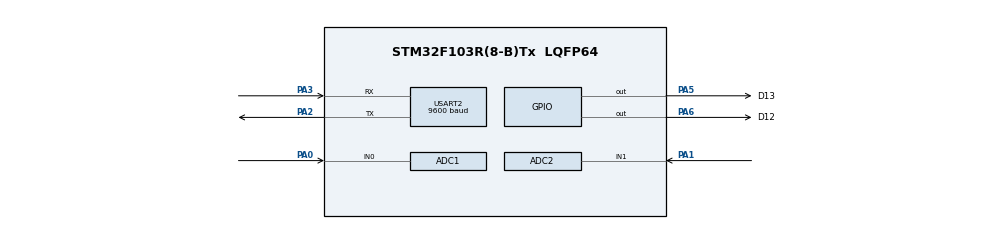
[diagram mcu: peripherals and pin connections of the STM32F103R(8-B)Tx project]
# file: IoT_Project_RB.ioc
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ADC1.Channel-0\#ChannelRegularConversion=ADC_CHANNEL_0
ADC1.ContinuousConvMode=ENABLE
ADC1.NbrOfConversionFlag=1
ADC1.Rank-0\#ChannelRegularConversion=1
ADC1.SamplingTime-0\#ChannelRegularConversion=ADC_SAMPLETIME_1CYCLE_5
ADC1.master=1
ADC2.Channel-0\#ChannelRegularConversion=ADC_CHANNEL_1
ADC2.ContinuousConvMode=ENABLE
ADC2.NbrOfConversionFlag=1
ADC2.Rank-0\#ChannelRegularConversion=1
ADC2.SamplingTime-0\#ChannelRegularConversion=ADC_SAMPLETIME_1CYCLE_5
Mcu.Family=STM32F1
Mcu.Name=STM32F103R(8-B)Tx
Mcu.Package=LQFP64
NVIC.PriorityGroup=NVIC_PRIORITYGROUP_4
NVIC.TIM2_IRQn=true\:0\:0\:false\:false\:true\:true\:true\:true
NVIC.USART2_IRQn=true\:0\:0\:false\:false\:true\:true\:true\:true
PA0-WKUP.Signal=ADCx_IN0
PA1.Signal=ADCx_IN1
PA2.Mode=Asynchronous
PA2.Signal=USART2_TX
PA3.Mode=Asynchronous
PA3.Signal=USART2_RX
PA5.GPIO_Label=D13
PA5.Signal=GPIO_Output
PA6.GPIO_Label=D12
PA6.Signal=GPIO_Output
ProjectManager.HeapSize=0x200
ProjectManager.StackSize=0x400
ProjectManager.TargetToolchain=STM32CubeIDE
RCC.APB1Freq_Value=8000000
RCC.APB2Freq_Value=8000000
SH.ADCx_IN0.0=ADC1_IN0,IN0
SH.ADCx_IN1.0=ADC2_IN1,IN1
TIM2.Period=9
TIM2.Prescaler=7999
USART2.BaudRate=9600
USART2.VirtualMode=VM_ASYNC
VP_TIM2_VS_ClockSourceINT.Mode=Internal
board=custom

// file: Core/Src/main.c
/* USER CODE BEGIN Header */
/**
  ******************************************************************************
  * @file           : main.c
  * @brief          : Main program body
  ******************************************************************************
  * @attention
  *
  * <h2><center>&copy; Copyright (c) 2022 STMicroelectronics.
  * All rights reserved.</center></h2>
  *
  * This software component is licensed by ST under BSD 3-Clause license,
  * the "License"; You may not use this file except in compliance with the
  * License. You may obtain a copy of the License at:
  *                        opensource.org/licenses/BSD-3-Clause
  *
  ******************************************************************************
  */
/* USER CODE END Header */
#include "main.h"

/* USER CODE BEGIN Includes */
#include "fsm.h"
#include "timer.h"
/* USER CODE END Includes */

/* USER CODE BEGIN PD */
#define TEMP 0
/* USER CODE END PD */

ADC_HandleTypeDef hadc1;
ADC_HandleTypeDef hadc2;

TIM_HandleTypeDef htim2;

UART_HandleTypeDef huart2;

void SystemClock_Config(void);
static void MX_GPIO_Init(void);
static void MX_ADC1_Init(void);
static void MX_ADC2_Init(void);
static void MX_USART2_UART_Init(void);
static void MX_TIM2_Init(void);

/* USER CODE BEGIN 0 */
//index_buffer = 0;
char writeStr[10];
void HAL_UART_RxCpltCallback(UART_HandleTypeDef *huart)
{
	if (huart->Instance == USART2)
	{
		//HAL_UART_Transmit(&huart2, &temp, 1, 50);

		buffer[index_buffer] = temp;
		index_buffer++;
		//if (temp == '!' || temp == '#')
		//HAL_UART_Transmit(&huart2, &temp, 1, 500);
		receive_flag++;
		//HAL_UART_Transmit(&huart2, writeStr, sprintf(writeStr, "%d", index_buffer), 1000);
		if (index_buffer == MAX_BUFFER_SIZE) index_buffer = 0;
		HAL_UART_Receive_IT(&huart2, &temp, 1);

		//HAL_GPIO_TogglePin(LED_RED_GPIO_Port, LED_RED_Pin);
	}
}

/* USER CODE END 0 */

int main(void)
{

  /* MCU Configuration--------------------------------------------------------*/

  /* Reset of all peripherals, Initializes the Flash interface and the Systick. */
  HAL_Init();

  /* Configure the system clock */
  SystemClock_Config();

  /* Initialize all configured peripherals */
  MX_GPIO_Init();
  MX_ADC1_Init();
  MX_ADC2_Init();
  MX_USART2_UART_Init();
  MX_TIM2_Init();
  /* USER CODE BEGIN 2 */

  HAL_UART_Receive_IT(&huart2, &temp, 1);
  HAL_TIM_Base_Start_IT(&htim2);
  /* USER CODE END 2 */

  /* Infinite loop */
  /* USER CODE BEGIN WHILE */
  //status =
  HAL_ADC_Start(&hadc1);
  HAL_ADC_Start(&hadc2);
  int write_counter = 10;
//  int ADC1_value = -1;
//  int ADC2_value = -1;
  //char str[50];
  //HAL_UART_Transmit(&huart2, "HELLO", 5, 1000);
  //setTimer(0, 10);
  while (1)
  {
//	  if (timer_timeout(1))
//	  {
//		  setTimer(1, 1000);
//		  HAL_GPIO_TogglePin(LED_RED_GPIO_Port, LED_RED_Pin);
//	  }

    if (receive_flag > 0)
	{
		receive_flag--;
		command_parser_fsm(&huart2);

	}
	uart_communication_fsm(&huart2, &hadc1, &hadc2);

//	  if (timer_timeout(0))
//	  {
//		  setTimer(0, 1000);
//		  ADC1_value = HAL_ADC_GetValue(&hadc1);
//		  HAL_UART_Transmit(&huart2, writeStr, sprintf(writeStr, "!TEMP:%d#", ADC1_value), 1000);
//		  ADC2_value = HAL_ADC_GetValue(&hadc2);
//		  HAL_UART_Transmit(&huart2, writeStr, sprintf(writeStr, "!HUMID:%d#", ADC2_value), 1000);
//	  }
    /* USER CODE END WHILE */

  }
}

void SystemClock_Config(void)
{
  RCC_OscInitTypeDef RCC_OscInitStruct = {0};
  RCC_ClkInitTypeDef RCC_ClkInitStruct = {0};
  RCC_PeriphCLKInitTypeDef PeriphClkInit = {0};

  /** Initializes the RCC Oscillators according to the specified parameters
  * in the RCC_OscInitTypeDef structure.
  */
  RCC_OscInitStruct.OscillatorType = RCC_OSCILLATORTYPE_HSI;
  RCC_OscInitStruct.HSIState = RCC_HSI_ON;
  RCC_OscInitStruct.HSICalibrationValue = RCC_HSICALIBRATION_DEFAULT;
  RCC_OscInitStruct.PLL.PLLState = RCC_PLL_NONE;
  if (HAL_RCC_OscConfig(&RCC_OscInitStruct) != HAL_OK)
  {
    Error_Handler();
  }

  /** Initializes the CPU, AHB and APB buses clocks
  */
  RCC_ClkInitStruct.ClockType = RCC_CLOCKTYPE_HCLK|RCC_CLOCKTYPE_SYSCLK
                              |RCC_CLOCKTYPE_PCLK1|RCC_CLOCKTYPE_PCLK2;
  RCC_ClkInitStruct.SYSCLKSource = RCC_SYSCLKSOURCE_HSI;
  RCC_ClkInitStruct.AHBCLKDivider = RCC_SYSCLK_DIV1;
  RCC_ClkInitStruct.APB1CLKDivider = RCC_HCLK_DIV1;
  RCC_ClkInitStruct.APB2CLKDivider = RCC_HCLK_DIV1;

  if (HAL_RCC_ClockConfig(&RCC_ClkInitStruct, FLASH_LATENCY_0) != HAL_OK)
  {
    Error_Handler();
  }
  PeriphClkInit.PeriphClockSelection = RCC_PERIPHCLK_ADC;
  PeriphClkInit.AdcClockSelection = RCC_ADCPCLK2_DIV2;
  if (HAL_RCCEx_PeriphCLKConfig(&PeriphClkInit) != HAL_OK)
  {
    Error_Handler();
  }
}

static void MX_ADC1_Init(void)
{

  ADC_ChannelConfTypeDef sConfig = {0};

  /** Common config
  */
  hadc1.Instance = ADC1;
  hadc1.Init.ScanConvMode = ADC_SCAN_DISABLE;
  hadc1.Init.ContinuousConvMode = ENABLE;
  hadc1.Init.DiscontinuousConvMode = DISABLE;
  hadc1.Init.ExternalTrigConv = ADC_SOFTWARE_START;
  hadc1.Init.DataAlign = ADC_DATAALIGN_RIGHT;
  hadc1.Init.NbrOfConversion = 1;
  if (HAL_ADC_Init(&hadc1) != HAL_OK)
  {
    Error_Handler();
  }

  /** Configure Regular Channel
  */
  sConfig.Channel = ADC_CHANNEL_0;
  sConfig.Rank = ADC_REGULAR_RANK_1;
  sConfig.SamplingTime = ADC_SAMPLETIME_1CYCLE_5;
  if (HAL_ADC_ConfigChannel(&hadc1, &sConfig) != HAL_OK)
  {
    Error_Handler();
  }

}

static void MX_ADC2_Init(void)
{

  ADC_ChannelConfTypeDef sConfig = {0};

  /** Common config
  */
  hadc2.Instance = ADC2;
  hadc2.Init.ScanConvMode = ADC_SCAN_DISABLE;
  hadc2.Init.ContinuousConvMode = ENABLE;
  hadc2.Init.DiscontinuousConvMode = DISABLE;
  hadc2.Init.ExternalTrigConv = ADC_SOFTWARE_START;
  hadc2.Init.DataAlign = ADC_DATAALIGN_RIGHT;
  hadc2.Init.NbrOfConversion = 1;
  if (HAL_ADC_Init(&hadc2) != HAL_OK)
  {
    Error_Handler();
  }

  /** Configure Regular Channel
  */
  sConfig.Channel = ADC_CHANNEL_1;
  sConfig.Rank = ADC_REGULAR_RANK_1;
  sConfig.SamplingTime = ADC_SAMPLETIME_1CYCLE_5;
  if (HAL_ADC_ConfigChannel(&hadc2, &sConfig) != HAL_OK)
  {
    Error_Handler();
  }

}

static void MX_TIM2_Init(void)
{

  TIM_ClockConfigTypeDef sClockSourceConfig = {0};
  TIM_MasterConfigTypeDef sMasterConfig = {0};

  htim2.Instance = TIM2;
  htim2.Init.Prescaler = 7999;
  htim2.Init.CounterMode = TIM_COUNTERMODE_UP;
  htim2.Init.Period = 9;
  htim2.Init.ClockDivision = TIM_CLOCKDIVISION_DIV1;
  htim2.Init.AutoReloadPreload = TIM_AUTORELOAD_PRELOAD_DISABLE;
  if (HAL_TIM_Base_Init(&htim2) != HAL_OK)
  {
    Error_Handler();
  }
  sClockSourceConfig.ClockSource = TIM_CLOCKSOURCE_INTERNAL;
  if (HAL_TIM_ConfigClockSource(&htim2, &sClockSourceConfig) != HAL_OK)
  {
    Error_Handler();
  }
  sMasterConfig.MasterOutputTrigger = TIM_TRGO_RESET;
  sMasterConfig.MasterSlaveMode = TIM_MASTERSLAVEMODE_DISABLE;
  if (HAL_TIMEx_MasterConfigSynchronization(&htim2, &sMasterConfig) != HAL_OK)
  {
    Error_Handler();
  }

}

static void MX_USART2_UART_Init(void)
{

  huart2.Instance = USART2;
  huart2.Init.BaudRate = 9600;
  huart2.Init.WordLength = UART_WORDLENGTH_8B;
  huart2.Init.StopBits = UART_STOPBITS_1;
  huart2.Init.Parity = UART_PARITY_NONE;
  huart2.Init.Mode = UART_MODE_TX_RX;
  huart2.Init.HwFlowCtl = UART_HWCONTROL_NONE;
  huart2.Init.OverSampling = UART_OVERSAMPLING_16;
  if (HAL_UART_Init(&huart2) != HAL_OK)
  {
    Error_Handler();
  }

}

static void MX_GPIO_Init(void)
{
  GPIO_InitTypeDef GPIO_InitStruct = {0};

  /* GPIO Ports Clock Enable */
  __HAL_RCC_GPIOA_CLK_ENABLE();

  /*Configure GPIO pin Output Level */
  HAL_GPIO_WritePin(GPIOA, D13_Pin|D12_Pin, GPIO_PIN_RESET);

  /*Configure GPIO pins : D13_Pin D12_Pin */
  GPIO_InitStruct.Pin = D13_Pin|D12_Pin;
  GPIO_InitStruct.Mode = GPIO_MODE_OUTPUT_PP;
  GPIO_InitStruct.Pull = GPIO_NOPULL;
  GPIO_InitStruct.Speed = GPIO_SPEED_FREQ_LOW;
  HAL_GPIO_Init(GPIOA, &GPIO_InitStruct);

}

/* USER CODE BEGIN 4 */
void HAL_TIM_PeriodElapsedCallback(TIM_HandleTypeDef* htim)
{
	timerRun();
}
/* USER CODE END 4 */

void Error_Handler(void)
{
  __disable_irq();
  while (1)
  {
  }
}
